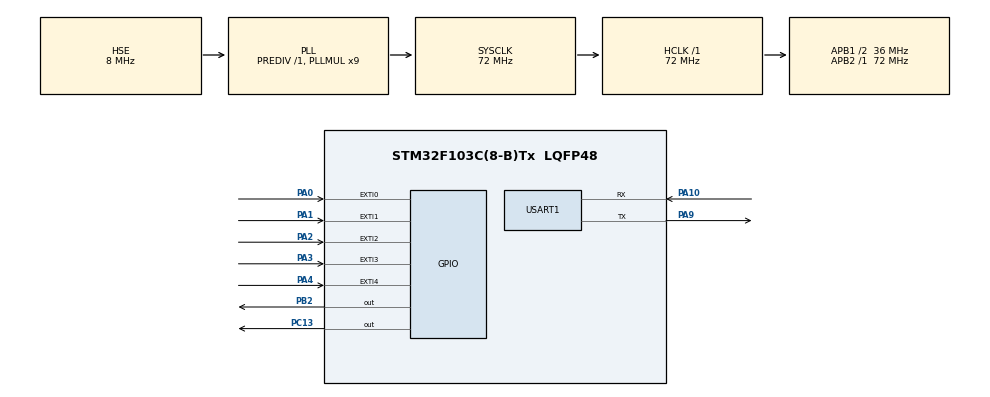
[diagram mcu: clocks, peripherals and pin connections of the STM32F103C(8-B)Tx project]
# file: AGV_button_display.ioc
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Dma.Request0=USART1_RX
Dma.Request1=USART1_TX
Dma.USART1_RX.0.Direction=DMA_PERIPH_TO_MEMORY
Dma.USART1_RX.0.Instance=DMA1_Channel5
Dma.USART1_RX.0.MemDataAlignment=DMA_MDATAALIGN_BYTE
Dma.USART1_RX.0.MemInc=DMA_MINC_ENABLE
Dma.USART1_RX.0.Mode=DMA_CIRCULAR
Dma.USART1_RX.0.PeriphDataAlignment=DMA_PDATAALIGN_BYTE
Dma.USART1_RX.0.PeriphInc=DMA_PINC_DISABLE
Dma.USART1_RX.0.Priority=DMA_PRIORITY_LOW
Dma.USART1_TX.1.Direction=DMA_MEMORY_TO_PERIPH
Dma.USART1_TX.1.Instance=DMA1_Channel4
Dma.USART1_TX.1.MemDataAlignment=DMA_MDATAALIGN_BYTE
Dma.USART1_TX.1.MemInc=DMA_MINC_ENABLE
Dma.USART1_TX.1.Mode=DMA_CIRCULAR
Dma.USART1_TX.1.PeriphDataAlignment=DMA_PDATAALIGN_BYTE
Dma.USART1_TX.1.PeriphInc=DMA_PINC_DISABLE
Dma.USART1_TX.1.Priority=DMA_PRIORITY_LOW
Mcu.Family=STM32F1
Mcu.Name=STM32F103C(8-B)Tx
Mcu.Package=LQFP48
NVIC.DMA1_Channel4_IRQn=true\:0\:0\:false\:false\:true\:false\:true\:true
NVIC.DMA1_Channel5_IRQn=true\:0\:0\:false\:false\:true\:false\:true\:true
NVIC.EXTI0_IRQn=true\:0\:0\:false\:false\:true\:true\:true\:true
NVIC.EXTI1_IRQn=true\:0\:0\:false\:false\:true\:true\:true\:true
NVIC.EXTI2_IRQn=true\:0\:0\:false\:false\:true\:true\:true\:true
NVIC.EXTI3_IRQn=true\:0\:0\:false\:false\:true\:true\:true\:true
NVIC.EXTI4_IRQn=true\:0\:0\:false\:false\:true\:true\:true\:true
NVIC.PriorityGroup=NVIC_PRIORITYGROUP_4
NVIC.USART1_IRQn=true\:0\:0\:false\:false\:true\:true\:true\:true
PA0-WKUP.GPIO_ModeDefaultEXTI=GPIO_MODE_IT_FALLING
PA0-WKUP.Signal=GPXTI0
PA1.GPIO_ModeDefaultEXTI=GPIO_MODE_IT_FALLING
PA1.Signal=GPXTI1
PA10.Mode=Asynchronous
PA10.Signal=USART1_RX
PA13.Mode=Serial_Wire
PA13.Signal=SYS_JTMS-SWDIO
PA14.Mode=Serial_Wire
PA14.Signal=SYS_JTCK-SWCLK
PA2.GPIO_ModeDefaultEXTI=GPIO_MODE_IT_FALLING
PA2.Signal=GPXTI2
PA3.GPIO_ModeDefaultEXTI=GPIO_MODE_IT_FALLING
PA3.Signal=GPXTI3
PA4.GPIO_ModeDefaultEXTI=GPIO_MODE_IT_FALLING
PA4.Signal=GPXTI4
PA9.Mode=Asynchronous
PA9.Signal=USART1_TX
PB2.Signal=GPIO_Output
PC13-TAMPER-RTC.Signal=GPIO_Output
PD0-OSC_IN.Mode=HSE-External-Oscillator
PD0-OSC_IN.Signal=RCC_OSC_IN
PD1-OSC_OUT.Mode=HSE-External-Oscillator
PD1-OSC_OUT.Signal=RCC_OSC_OUT
ProjectManager.HeapSize=0x200
ProjectManager.StackSize=0x400
ProjectManager.TargetToolchain=STM32CubeIDE
RCC.AHBFreq_Value=72000000
RCC.APB1CLKDivider=RCC_HCLK_DIV2
RCC.APB1Freq_Value=36000000
RCC.APB1TimFreq_Value=72000000
RCC.APB2Freq_Value=72000000
RCC.APB2TimFreq_Value=72000000
RCC.HCLKFreq_Value=72000000
RCC.PLLMUL=RCC_PLL_MUL9
RCC.PLLSourceVirtual=RCC_PLLSOURCE_HSE
RCC.SYSCLKFreq_VALUE=72000000
RCC.SYSCLKSource=RCC_SYSCLKSOURCE_PLLCLK
RCC.USBFreq_Value=72000000
USART1.VirtualMode=VM_ASYNC
board=custom

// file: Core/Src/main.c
/* USER CODE BEGIN Header */
/**
  ******************************************************************************
  * @file           : main.c
  * @brief          : Main program body
  ******************************************************************************
  * @attention
  *
  * Copyright (c) 2024 STMicroelectronics.
  * All rights reserved.
  *
  * This software is licensed under terms that can be found in the LICENSE file
  * in the root directory of this software component.
  * If no LICENSE file comes with this software, it is provided AS-IS.
  *
  ******************************************************************************
  */
/* USER CODE END Header */
#include "main.h"

/* USER CODE BEGIN PD */
#define use_HEXADECIMAL
/* USER CODE END PD */

UART_HandleTypeDef huart1;
DMA_HandleTypeDef hdma_usart1_rx;
DMA_HandleTypeDef hdma_usart1_tx;

/* USER CODE BEGIN PV */

uint8_t Tx_Data_Uart1[5];
uint8_t Rx_Data_Uart1[5];

uint8_t Station_id[5];

/* USER CODE END PV */

void SystemClock_Config(void);
static void MX_GPIO_Init(void);
static void MX_DMA_Init(void);
static void MX_USART1_UART_Init(void);

/* USER CODE BEGIN 0 */
void HAL_UART_TxCpltCallback(UART_HandleTypeDef *huart)
{
	Tx_Data_Uart1[0] = 5;
	Tx_Data_Uart1[1] = 4;
	Tx_Data_Uart1[2] = 3;
	Tx_Data_Uart1[3] = 2;
	Tx_Data_Uart1[4] = 1;
}

void HAL_UART_RxCpltCallback(UART_HandleTypeDef *huart)
{
	HAL_UART_Receive_DMA (&huart1, Rx_Data_Uart1, sizeof (Rx_Data_Uart1));
}

//void Startup_RFID(){
//
//
//	PN532_SPI_Init(&pn532);
//
//	if(PN532_GetFirmwareVersion(&pn532, &uid_version) != PN532_STATUS_OK)
//	{
//
//	}
//
//	PN532_SamConfiguration(&pn532);
//
//}
//void AGV_RFID_Detection(){
//	uid_len = PN532_ReadPassiveTarget(&pn532, uid, PN532_MIFARE_ISO14443A, 100);
//	if(uid_len >= 4){
//		Station_id[0] = uid[0];
//		Station_id[1] = uid[1];
//		Station_id[2] = uid[2];
//		Station_id[3] = uid[3];
//		Station_id[4] = uid[4];
//	}
//}

/* USER CODE END 0 */

int main(void)
{

  /* MCU Configuration--------------------------------------------------------*/

  /* Reset of all peripherals, Initializes the Flash interface and the Systick. */
  HAL_Init();

  /* Configure the system clock */
  SystemClock_Config();

  /* Initialize all configured peripherals */
  MX_GPIO_Init();
  MX_DMA_Init();
  MX_USART1_UART_Init();
  /* USER CODE BEGIN 2 */

  HAL_UART_Transmit_DMA(&huart1, Tx_Data_Uart1, sizeof (Tx_Data_Uart1));
  HAL_UART_Receive_DMA (&huart1, Rx_Data_Uart1, sizeof (Rx_Data_Uart1));

//  Startup_RFID();

  /* USER CODE END 2 */

  /* Infinite loop */
  /* USER CODE BEGIN WHILE */

  while (1)
  {
	  HAL_GPIO_TogglePin(GPIOB, GPIO_PIN_2);
	  HAL_Delay(500);
//	  AGV_RFID_Detection();
    /* USER CODE END WHILE */

  }
}

void SystemClock_Config(void)
{
  RCC_OscInitTypeDef RCC_OscInitStruct = {0};
  RCC_ClkInitTypeDef RCC_ClkInitStruct = {0};

  /** Initializes the RCC Oscillators according to the specified parameters
  * in the RCC_OscInitTypeDef structure.
  */
  RCC_OscInitStruct.OscillatorType = RCC_OSCILLATORTYPE_HSE;
  RCC_OscInitStruct.HSEState = RCC_HSE_ON;
  RCC_OscInitStruct.HSEPredivValue = RCC_HSE_PREDIV_DIV1;
  RCC_OscInitStruct.HSIState = RCC_HSI_ON;
  RCC_OscInitStruct.PLL.PLLState = RCC_PLL_ON;
  RCC_OscInitStruct.PLL.PLLSource = RCC_PLLSOURCE_HSE;
  RCC_OscInitStruct.PLL.PLLMUL = RCC_PLL_MUL9;
  if (HAL_RCC_OscConfig(&RCC_OscInitStruct) != HAL_OK)
  {
    Error_Handler();
  }

  /** Initializes the CPU, AHB and APB buses clocks
  */
  RCC_ClkInitStruct.ClockType = RCC_CLOCKTYPE_HCLK|RCC_CLOCKTYPE_SYSCLK
                              |RCC_CLOCKTYPE_PCLK1|RCC_CLOCKTYPE_PCLK2;
  RCC_ClkInitStruct.SYSCLKSource = RCC_SYSCLKSOURCE_PLLCLK;
  RCC_ClkInitStruct.AHBCLKDivider = RCC_SYSCLK_DIV1;
  RCC_ClkInitStruct.APB1CLKDivider = RCC_HCLK_DIV2;
  RCC_ClkInitStruct.APB2CLKDivider = RCC_HCLK_DIV1;

  if (HAL_RCC_ClockConfig(&RCC_ClkInitStruct, FLASH_LATENCY_2) != HAL_OK)
  {
    Error_Handler();
  }
}

static void MX_USART1_UART_Init(void)
{

  huart1.Instance = USART1;
  huart1.Init.BaudRate = 115200;
  huart1.Init.WordLength = UART_WORDLENGTH_8B;
  huart1.Init.StopBits = UART_STOPBITS_1;
  huart1.Init.Parity = UART_PARITY_NONE;
  huart1.Init.Mode = UART_MODE_TX_RX;
  huart1.Init.HwFlowCtl = UART_HWCONTROL_NONE;
  huart1.Init.OverSampling = UART_OVERSAMPLING_16;
  if (HAL_UART_Init(&huart1) != HAL_OK)
  {
    Error_Handler();
  }

}

static void MX_DMA_Init(void)
{

  /* DMA controller clock enable */
  __HAL_RCC_DMA1_CLK_ENABLE();

  /* DMA interrupt init */
  /* DMA1_Channel4_IRQn interrupt configuration */
  HAL_NVIC_SetPriority(DMA1_Channel4_IRQn, 0, 0);
  HAL_NVIC_EnableIRQ(DMA1_Channel4_IRQn);
  /* DMA1_Channel5_IRQn interrupt configuration */
  HAL_NVIC_SetPriority(DMA1_Channel5_IRQn, 0, 0);
  HAL_NVIC_EnableIRQ(DMA1_Channel5_IRQn);

}

static void MX_GPIO_Init(void)
{
  GPIO_InitTypeDef GPIO_InitStruct = {0};

  /* GPIO Ports Clock Enable */
  __HAL_RCC_GPIOC_CLK_ENABLE();
  __HAL_RCC_GPIOD_CLK_ENABLE();
  __HAL_RCC_GPIOA_CLK_ENABLE();
  __HAL_RCC_GPIOB_CLK_ENABLE();

  /*Configure GPIO pin Output Level */
  HAL_GPIO_WritePin(GPIOC, GPIO_PIN_13, GPIO_PIN_RESET);

  /*Configure GPIO pin Output Level */
  HAL_GPIO_WritePin(GPIOB, GPIO_PIN_2, GPIO_PIN_RESET);

  /*Configure GPIO pin : PC13 */
  GPIO_InitStruct.Pin = GPIO_PIN_13;
  GPIO_InitStruct.Mode = GPIO_MODE_OUTPUT_PP;
  GPIO_InitStruct.Pull = GPIO_NOPULL;
  GPIO_InitStruct.Speed = GPIO_SPEED_FREQ_LOW;
  HAL_GPIO_Init(GPIOC, &GPIO_InitStruct);

  /*Configure GPIO pins : PA0 PA1 PA2 PA3
                           PA4 */
  GPIO_InitStruct.Pin = GPIO_PIN_0|GPIO_PIN_1|GPIO_PIN_2|GPIO_PIN_3
                          |GPIO_PIN_4;
  GPIO_InitStruct.Mode = GPIO_MODE_IT_FALLING;
  GPIO_InitStruct.Pull = GPIO_NOPULL;
  HAL_GPIO_Init(GPIOA, &GPIO_InitStruct);

  /*Configure GPIO pin : PB2 */
  GPIO_InitStruct.Pin = GPIO_PIN_2;
  GPIO_InitStruct.Mode = GPIO_MODE_OUTPUT_PP;
  GPIO_InitStruct.Pull = GPIO_NOPULL;
  GPIO_InitStruct.Speed = GPIO_SPEED_FREQ_LOW;
  HAL_GPIO_Init(GPIOB, &GPIO_InitStruct);

  /* EXTI interrupt init*/
  HAL_NVIC_SetPriority(EXTI0_IRQn, 0, 0);
  HAL_NVIC_EnableIRQ(EXTI0_IRQn);

  HAL_NVIC_SetPriority(EXTI1_IRQn, 0, 0);
  HAL_NVIC_EnableIRQ(EXTI1_IRQn);

  HAL_NVIC_SetPriority(EXTI2_IRQn, 0, 0);
  HAL_NVIC_EnableIRQ(EXTI2_IRQn);

  HAL_NVIC_SetPriority(EXTI3_IRQn, 0, 0);
  HAL_NVIC_EnableIRQ(EXTI3_IRQn);

  HAL_NVIC_SetPriority(EXTI4_IRQn, 0, 0);
  HAL_NVIC_EnableIRQ(EXTI4_IRQn);

}

/* USER CODE BEGIN 4 */

void HAL_GPIO_EXTI_Callback(uint16_t GPIO_Pin){
	if(GPIO_Pin == GPIO_PIN_0){
		HAL_GPIO_WritePin(GPIOB, GPIO_PIN_2, RESET);
		Tx_Data_Uart1[0] = 0x56;
		Tx_Data_Uart1[1] = 0xF1;
		Tx_Data_Uart1[2] = 0x0;
		Tx_Data_Uart1[3] = 0x0;
		Tx_Data_Uart1[4] = 0x0;
		HAL_UART_Transmit_IT(&huart1, Tx_Data_Uart1, sizeof (Tx_Data_Uart1));

	}

	if(GPIO_Pin == GPIO_PIN_1){
		HAL_GPIO_WritePin(GPIOB, GPIO_PIN_2, RESET);
		Tx_Data_Uart1[0] = 0x56;
		Tx_Data_Uart1[1] = 0xF2;
		Tx_Data_Uart1[2] = 0x0;
		Tx_Data_Uart1[3] = 0x0;
		Tx_Data_Uart1[4] = 0x0;
		HAL_UART_Transmit_IT(&huart1, Tx_Data_Uart1, sizeof (Tx_Data_Uart1));
	}

	if(GPIO_Pin == GPIO_PIN_2){
		HAL_GPIO_WritePin(GPIOB, GPIO_PIN_2, RESET);
		Tx_Data_Uart1[0] = 0x56;
		Tx_Data_Uart1[1] = 0xF3;
		Tx_Data_Uart1[2] = 0x0;
		Tx_Data_Uart1[3] = 0x0;
		Tx_Data_Uart1[4] = 0x0;
		HAL_UART_Transmit_IT(&huart1, Tx_Data_Uart1, sizeof (Tx_Data_Uart1));
	}

	if(GPIO_Pin == GPIO_PIN_3){
		HAL_GPIO_WritePin(GPIOB, GPIO_PIN_2, RESET);
		Tx_Data_Uart1[0] = 0x56;
		Tx_Data_Uart1[1] = 0xF4;
		Tx_Data_Uart1[2] = 0x0;
		Tx_Data_Uart1[3] = 0x0;
		Tx_Data_Uart1[4] = 0x0;
		HAL_UART_Transmit_IT(&huart1, Tx_Data_Uart1, sizeof (Tx_Data_Uart1));
	}

	if(GPIO_Pin == GPIO_PIN_4){
		HAL_GPIO_WritePin(GPIOB, GPIO_PIN_2, RESET);
		Tx_Data_Uart1[0] = 0x56;
		Tx_Data_Uart1[1] = 0xF5;
		Tx_Data_Uart1[2] = 0x0;
		Tx_Data_Uart1[3] = 0x0;
		Tx_Data_Uart1[4] = 0x0;
		HAL_UART_Transmit_IT(&huart1, Tx_Data_Uart1, sizeof (Tx_Data_Uart1));
	}
}

/* USER CODE END 4 */

void Error_Handler(void)
{
  __disable_irq();
  while (1)
  {
  }
}
